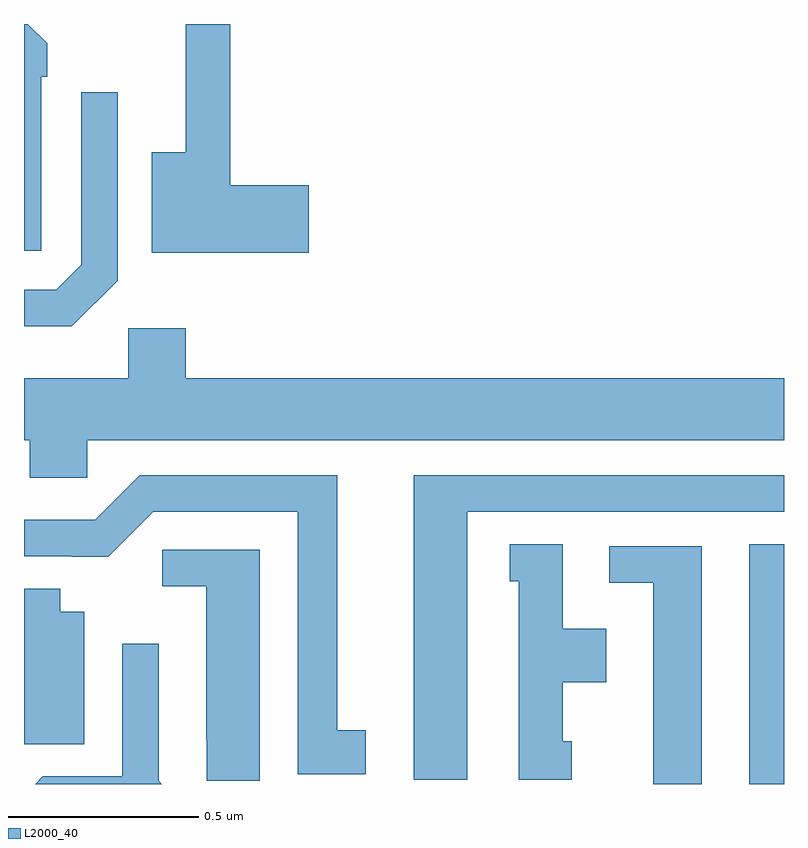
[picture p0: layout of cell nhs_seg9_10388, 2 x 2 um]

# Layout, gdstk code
import gdstk
lib = gdstk.Library(unit=1e-6, precision=1e-09)
def R(c, l, rs):  # rectangles x0, y0, x1, y1
    for r in rs: c.add(gdstk.rectangle(r[:2], r[2:], *l))
def P(c, l, *ps):  # polygons
    for p in ps: c.add(gdstk.Polygon(p, *l))
L2000_40 = (2000, 40)

nhs_seg9_10388 = lib.new_cell('nhs_seg9_10388')
R(nhs_seg9_10388, L2000_40, [(243.908,1211.5,244,1212.131)])
P(nhs_seg9_10388, L2000_40, [(242.749,1213.076),(242.543,1213.076),(242.543,1213.5),(242.426,1213.5),(242.426,1213.162),(242.336,1213.162),(242.336,1212.898),(242.749,1212.898)],
  [(242.046,1213.361),(242.061,1213.361),(242.061,1213.449),(242.01,1213.5),(242,1213.5),(242,1212.903),(242.046,1212.903)],
  [(242.247,1212.825),(242.247,1213.321),(242.151,1213.321),(242.151,1212.867),(242.085,1212.801),(242,1212.801),(242,1212.704),(242.126,1212.704)],
  [(242.166,1212.404),(244,1212.404),(244,1212.568),(242.426,1212.568),(242.426,1212.7),(242.274,1212.7),(242.274,1212.568),(242,1212.568),(242,1212.404),(242.015,1212.404),(242.015,1212.306),(242.166,1212.306)],
  [(242.899,1211.642),(242.824,1211.642),(242.824,1212.312),(242.304,1212.312),(242.187,1212.195),(242,1212.195),(242,1212.099),(242.126,1212.099),(242.126,1212.098),(242.222,1212.098),(242.34,1212.216),(242.72,1212.216),(242.72,1211.526),(242.899,1211.526)],
  [(243.166,1212.216),(244,1212.216),(244,1212.312),(243.026,1212.312),(243.026,1211.511),(243.166,1211.511)],
  [(243.442,1211.613),(243.418,1211.613),(243.418,1211.768),(243.532,1211.768),(243.532,1211.908),(243.418,1211.908),(243.418,1212.131),(243.278,1212.131),(243.278,1212.033),(243.302,1212.033),(243.302,1211.511),(243.442,1211.511)],
  [(243.784,1212.126),(243.54,1212.126),(243.54,1212.03),(243.656,1212.03),(243.656,1211.5),(243.784,1211.5)],
  [(242.62,1212.117),(242.364,1212.117),(242.364,1212.02),(242.48,1212.02),(242.48,1211.617),(242.481,1211.617),(242.481,1211.509),(242.62,1211.509)],
  [(242.158,1211.953),(242.095,1211.953),(242.095,1212.014),(242,1212.014),(242,1211.605),(242.158,1211.605)],
  [(242.355,1211.508),(242.355,1211.869),(242.259,1211.869),(242.259,1211.52),(242.049,1211.52),(242.029,1211.5),(242.363,1211.5)])

lib.write_gds('nhs_seg9_10388.gds')
